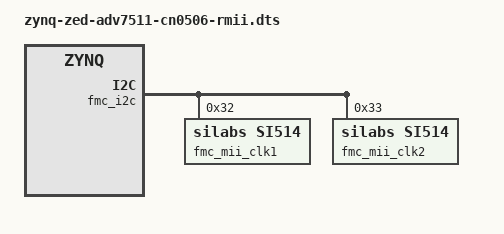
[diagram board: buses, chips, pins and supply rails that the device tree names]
// SPDX-License-Identifier: GPL-2.0
/*
 * ADIN PHY FMC board
 * https://wiki.analog.com/resources/tools-software/linux-drivers/net-phy/adin
 *
 * hdl_project: <cn0506_rmii/zed>
 * board_revision: <>
 *
 * Copyright 2020 Analog Devices Inc.
 */
/dts-v1/;

#include "zynq-zed.dtsi"
#include "zynq-zed-adv7511.dtsi"
#include "adi-cn0506-rmii.dtsi"

&fpga_axi {
	fmc_i2c: i2c@41620000 {
		compatible = "xlnx,axi-iic-1.01.b", "xlnx,xps-iic-2.00.a";
		reg = <0x41620000 0x10000>;
		interrupt-parent = <&intc>;
		interrupts = <0 55 IRQ_TYPE_LEVEL_HIGH>;
		clocks = <&clkc 15>;
		clock-names = "pclk";

		#size-cells = <0>;
		#address-cells = <1>;

		fmc_mii_clk1: clock-generator@32 {
			#clock-cells = <0>;
			compatible = "silabs,si514";
			reg = <0x32>;
			clock-output-names = "si514_fmc_mii_clk1";
			assigned-clocks = <&fmc_mii_clk1>;
			assigned-clock-rates = <50000000>;
		};

		fmc_mii_clk2: clock-generator@33 {
			#clock-cells = <0>;
			compatible = "silabs,si514";
			reg = <0x33>;
			clock-output-names = "si514_fmc_mii_clk2";
			assigned-clocks = <&fmc_mii_clk2>;
			assigned-clock-rates = <50000000>;
		};
	};
};
